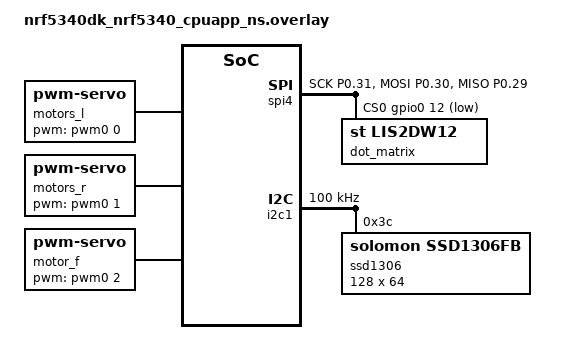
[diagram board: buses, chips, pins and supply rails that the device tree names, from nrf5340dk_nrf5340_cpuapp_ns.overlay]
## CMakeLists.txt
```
# SPDX-License-Identifier: Apache-2.0

cmake_minimum_required(VERSION 3.20.0)
set(SHIELD ssd1306_128x32)

find_package(Zephyr REQUIRED HINTS $ENV{ZEPHYR_BASE})
project(benjamin-robot)

target_sources(app PRIVATE src/main.c)

# Custom files and folders
target_sources(app PRIVATE
    src/remote_service/remote.c
    src/libs/ultrasonic_hc-sr04.c
    src/helpers.c
    src/radar_bx.c
)

zephyr_library_include_directories(src/remote_service)
```

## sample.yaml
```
sample:
  description: Hello World sample, the simplest Zephyr
    application
  name: hello world
common:
    tags: introduction
    integration_platforms:
      - native_posix
    harness: console
    harness_config:
      type: one_line
      regex:
        - "Hello World! (.*)"
tests:
  sample.basic.helloworld:
    tags: introduction
sample:
  name: Servo Motor using PWM
tests:
  sample.basic.servo_motor:
    tags: drivers pwm
    depends_on: pwm
    harness: motor
    filter: dt_compat_enabled("pwm-servo")
```

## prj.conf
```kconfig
# Configure logger
CONFIG_LOG=y
CONFIG_LOG_DEFAULT_LEVEL=3

# Configure some other BS that probably isn't needed 
CONFIG_STDOUT_CONSOLE=y
CONFIG_PRINTK=y

# Configure buttons and LEDs.
CONFIG_GPIO=y
CONFIG_DK_LIBRARY=y

# Configure PWM
CONFIG_PWM=y

# Configure SPI
CONFIG_SPI=y
CONFIG_SPI_ASYNC=y

# Configure Bluetooth
CONFIG_BT=y
CONFIG_BT_PERIPHERAL=y
CONFIG_BT_DEVICE_NAME="Benjamin the Robot"
CONFIG_BT_DEVICE_APPEARANCE=0
CONFIG_BT_MAX_CONN=1
CONFIG_ASSERT=y
CONFIG_BT_NUS=y

# Display
CONFIG_LV_Z_MEM_POOL_NUMBER_BLOCKS=8
CONFIG_MAIN_STACK_SIZE=2048
CONFIG_DISPLAY=y
CONFIG_DISPLAY_LOG_LEVEL_ERR=y
CONFIG_LVGL=y
CONFIG_LV_MEM_CUSTOM=y
CONFIG_LV_USE_LOG=y
CONFIG_LV_USE_LABEL=y
CONFIG_LV_USE_BTN=y
CONFIG_LV_USE_IMG=y
CONFIG_LV_FONT_MONTSERRAT_10=y
CONFIG_I2C=y
CONFIG_SSD1306_REVERSE_MODE=y
```

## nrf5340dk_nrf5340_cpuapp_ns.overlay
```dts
// To get started, press Ctrl+Space to bring up the completion menu and view the available nodes.

// You can also use the buttons in the sidebar to perform actions on nodes.
// Actions currently available include:

// * Enabling / disabling the node
// * Adding the bus to a bus
// * Removing the node
// * Connecting ADC channels

// For more help, browse the DeviceTree documentation at https://docs.zephyrproject.org/latest/guides/dts/index.html
// You can also visit the nRF DeviceTree extension documentation at https://nrfconnect.github.io/vscode-nrf-connect/devicetree/nrfdevicetree.html

/ {
    motors_l: motors_left {
        compatible = "pwm-servo";
        pwms = <&pwm0 0 PWM_MSEC(20) PWM_POLARITY_NORMAL>;
        min-pulse = <PWM_USEC(1000)>;
        max-pulse = <PWM_USEC(2000)>;
    };
    motors_r: motors_right {
        compatible = "pwm-servo";
        pwms = <&pwm0 1 PWM_MSEC(20) PWM_POLARITY_NORMAL>;
        min-pulse = <PWM_USEC(1000)>;
        max-pulse = <PWM_USEC(2000)>;
    };
    motor_f: motor_front {
        compatible = "pwm-servo";
        pwms = <&pwm0 2 PWM_MSEC(20) PWM_POLARITY_NORMAL>;
        min-pulse = <PWM_USEC(1000)>;
        max-pulse = <PWM_USEC(2000)>;
    } ;
};

my_spi_master: &spi4 {
    compatible = "nordic,nrf-spim";
    status = "okay";
    pinctrl-0 = <&spi4_default>;
    pinctrl-1 = <&spi4_sleep>;
    cs-gpios = <&gpio0 12 GPIO_ACTIVE_LOW>;         // Dot matrix
    dot_matrix: dot_matrix@0 {
        compatible = "st,lis2dw12";
        reg = <0>;
        spi-max-frequency = < 0x80000000UL >;
    };
    
};

arduino_i2c: &i2c1 {
	compatible = "nordic,nrf-twim";
	status = "okay";
	clock-frequency = <I2C_BITRATE_STANDARD>;   // default = I2C_BITRATE_FAST
    zephyr,concat-buf-size = <4096>;            // default = 4096
  
    ssd1306: ssd1306@3c {
        compatible = "solomon,ssd1306fb";
        reg = <0x3c>;   // I2C address 0x3c for SSD1306.
        width = <128>;
        height = <64>;
        segment-offset = <0>;   // default = 0
        page-offset = <0>;      // default = 0
        display-offset = <16>;  // default = 0. correct = 16
        multiplex-ratio = <63>; //change to 63 when using the 128x64 pixel version (default = 31)
        segment-remap;
        com-invdir;
        com-sequential;
        prechargep = <0x22>;    // default = 0x22
    };
};

&pinctrl {
    pwm0_default: pwm0_default {
        group1 {
            psels = <NRF_PSEL(PWM_OUT0, 0, 4)>;   
        };
        group2 {
            psels = <NRF_PSEL(PWM_OUT1, 0, 5)>;
        };
        group3 {
            psels = <NRF_PSEL(PWM_OUT2, 0, 6)>;
        };
    };
    pwm0_sleep: pwm0_sleep {
        group1 {
            psels = <NRF_PSEL(PWM_OUT0, 0, 4)>;
        };
        group2 {
            psels = <NRF_PSEL(PWM_OUT1, 0, 5)>;
        };
        group3 {
            psels = <NRF_PSEL(PWM_OUT2, 0, 6)>;

        };
    };
    i2c1_default: i2c1_default {
        group1 {
            psels = <NRF_PSEL(TWIM_SDA, 1, 2)>,
                    <NRF_PSEL(TWIM_SCL, 1, 3)>;
        };
    };
        
    i2c1_sleep: i2c1_sleep {
        group1 {
            psels = <NRF_PSEL(TWIM_SDA, 1, 2)>,
                    <NRF_PSEL(TWIM_SCL, 1, 3)>;
                    low-power-enable;
            };
    };
    spi4_default: spi4_default {
        group1 {
            psels = <NRF_PSEL(SPIM_SCK, 0, 31)>,
                    <NRF_PSEL(SPIM_MOSI, 0, 30)>,
                    <NRF_PSEL(SPIM_MISO, 0, 29)>;
        };
    };
    spi4_sleep: spi4_sleep {
        group1 {
            psels = <NRF_PSEL(SPIM_SCK, 0, 31)>,
                    <NRF_PSEL(SPIM_MOSI, 0, 30)>,
                    <NRF_PSEL(SPIM_MISO, 0, 29)>;
            low-power-enable;
        };
    };

};
```

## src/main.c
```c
/**
 * @file main.c
 * @brief Benjamin The Robot
 */

#include <zephyr/kernel.h>
#include <zephyr/logging/log.h>
#include <dk_buttons_and_leds.h>
#include <zephyr/device.h>
#include <zephyr/drivers/pwm.h>
#include <zephyr/drivers/display.h>
#include <bluetooth/services/nus.h>
#include <lvgl.h>
#include "remote_service/remote.h"
#include "libs/ultrasonic_hc-sr04.h"
#include "helpers.h"

// Logging
#define LOG_MODULE_NAME Benjamin_main
LOG_MODULE_REGISTER(LOG_MODULE_NAME);

// GPIO
#define RUN_STATUS_LED DK_LED1
#define CONN_STATUS_LED DK_LED2
#define RUN_LED_BLINK_INTERVAL 1000

// Pin definitions
#define ULTRASONIC_TRIG_PIN 25
#define ULTRASONIC_ECHO_PIN 26

// OLED Display
#define MY_DISP_HOR_RES 128
#define MY_DISP_VER_RES 64

// Motors
#define MOTOR_TIMEOUT_MS 120

// Function prototypes
static struct bt_conn *current_conn;
static void on_connected(struct bt_conn *conn, uint8_t error);
static void on_disconnected(struct bt_conn *conn, uint8_t reason);
static void on_data_received(struct bt_conn *conn, const uint8_t *const data, uint16_t len);
static void update_motors(uint8_t dir_ascii);
static void reset_motors(struct k_timer *timer);
static void config_dk_leds(void);
static void i2c_init(void);
static void oled_init(void);

// Timers
K_TIMER_DEFINE(motor_timeout, reset_motors, NULL);  

// Initialise devices
static const struct device *gpio_dev = DEVICE_DT_GET(DT_NODELABEL(gpio0));
static const struct pwm_dt_spec motors_l = PWM_DT_SPEC_GET(DT_NODELABEL(motors_l));
static const struct pwm_dt_spec motors_r = PWM_DT_SPEC_GET(DT_NODELABEL(motors_r));
static const struct pwm_dt_spec motor_f = PWM_DT_SPEC_GET(DT_NODELABEL(motor_f));
static const uint32_t MIN_PULSE_F = DT_PROP(DT_NODELABEL(motor_f), min_pulse);
static const uint32_t MAX_PULSE_F = DT_PROP(DT_NODELABEL(motor_f), max_pulse);
static const struct device *oled_dev;

// Variable declarations
typedef enum
{
    NONE_E = 0,
    NORTH_E = 1,
    NORTHEAST_E = 2,
    EAST_E = 3,
    SOUTHEAST_E = 4,
    SOUTH_E = 5,
    SOUTHWEST_E = 6,
    WEST_E = 7,
    NORTHWEST_E = 8
} robot_dir_t;

struct bt_conn_cb bluetooth_callbacks = {
	.connected 		= on_connected,
	.disconnected 	= on_disconnected,
};

struct bt_remote_service_cb remote_callbacks = {
    .data_received = on_data_received,
}; 

/* Callbacks */
static void on_connected(struct bt_conn *conn, uint8_t error)
{
	if(error) {
		LOG_ERR("connection err: %d", error);
		return;
	}
	LOG_INF("Connected.");
	current_conn = bt_conn_ref(conn);
	dk_set_led_on(CONN_STATUS_LED);
} /* on_connected */

static void on_disconnected(struct bt_conn *conn, uint8_t reason)
{
	LOG_INF("Disconnected (reason: %d)", reason);
	dk_set_led_off(CONN_STATUS_LED);
	if(current_conn) {
		bt_conn_unref(current_conn);
		current_conn = NULL;
	}
} /* on_disconnected */

static void on_data_received(struct bt_conn *conn, const uint8_t *const data, uint16_t len)
{
    uint8_t temp_str[len+1];
    memcpy(temp_str, data, len);
    temp_str[len] = 0x00;

    LOG_DBG("Received data on conn %p. Len: %d", (void *)conn, len);;
    LOG_DBG("Data: %s", temp_str);

    update_motors(temp_str[0]); 

    // Start/reset timer. Call reset_motors if time elapses.
    k_timer_start(&motor_timeout, K_MSEC(MOTOR_TIMEOUT_MS), K_NO_WAIT);
    
} /* on_data_received */

static void update_motors(uint8_t dir_ascii)
{
    uint16_t error;
    robot_dir_t dir;
    uint32_t motors_l_pwm_ns = 1500;
    uint32_t motors_r_pwm_ns = 1500;
    const uint32_t ROBOT_SPEED = 350;       // Max 500
    
    dir = (uint8_t)(dir_ascii - '0');       // Black magic convert to numeric
    LOG_DBG("ASCII: %u", dir_ascii);
    LOG_DBG("Int: %u", dir);

    /* Motor PWM->Speed Reference:
        Max foward = 2000 us
        Max reverse = 1000 us
        Stop = 1500 us. Dead band [1480-1520] us 
    */
    switch(dir)
    {
        case NONE_E:
            motors_l_pwm_ns = PWM_USEC(1500);
            motors_r_pwm_ns = PWM_USEC(1500);
            break;
        case NORTH_E: 
            motors_l_pwm_ns = PWM_USEC(1500 + ROBOT_SPEED);
            motors_r_pwm_ns = PWM_USEC(1500 + ROBOT_SPEED);
            break;
        case NORTHEAST_E:
            motors_l_pwm_ns = PWM_USEC(1500 + ROBOT_SPEED);
            motors_r_pwm_ns = PWM_USEC(1500 + ROBOT_SPEED/2);
            break;
        case EAST_E:
            motors_l_pwm_ns = PWM_USEC(1500 + ROBOT_SPEED);
            motors_r_pwm_ns = PWM_USEC(1500 - ROBOT_SPEED);
            break;
        case SOUTHEAST_E:
            motors_l_pwm_ns = PWM_USEC(1500 - ROBOT_SPEED);
            motors_r_pwm_ns = PWM_USEC(1500 - ROBOT_SPEED/2);
            break;
        case SOUTH_E:
            motors_l_pwm_ns = PWM_USEC(1500 - ROBOT_SPEED);
            motors_r_pwm_ns = PWM_USEC(1500 - ROBOT_SPEED);
            break;
        case SOUTHWEST_E:
            motors_l_pwm_ns = PWM_USEC(1500 - ROBOT_SPEED/2);
            motors_r_pwm_ns = PWM_USEC(1500 - ROBOT_SPEED);
            break;
        case WEST_E:
            motors_l_pwm_ns = PWM_USEC(1500 - ROBOT_SPEED);
            motors_r_pwm_ns = PWM_USEC(1500 + ROBOT_SPEED);
            break;
        case NORTHWEST_E:
            motors_l_pwm_ns = PWM_USEC(1500 + ROBOT_SPEED/2);
            motors_r_pwm_ns = PWM_USEC(1500 + ROBOT_SPEED);
            break;
        default:
            LOG_INF("Controller incorrectly configured. See robot_dir_t enum definition.");
            break;    
    }   

    // Set motor speeds
    error = pwm_set_pulse_dt(&motors_l, motors_l_pwm_ns);
    if (error < 0)
    {
        LOG_ERR("Error %d: failed to set pulse width of left motors", error);
        return;
    }
    error = pwm_set_pulse_dt(&motors_r, motors_r_pwm_ns);
    if (error < 0)
    {
        LOG_ERR("Error %d: failed to set pulse width of right motors", error);
        return;
	}
    LOG_DBG("Left motor set to %u us", motors_l_pwm_ns/1000);
    LOG_DBG("Right motor set to %u us", motors_r_pwm_ns/1000);
    
} /* update_motors */

static void reset_motors(struct k_timer *timer)
{
    ARG_UNUSED(timer);
    uint16_t error;
    error = pwm_set_pulse_dt(&motors_l, PWM_USEC(1500));
     if (error < 0) {
			LOG_ERR("Error %d: failed to reset left motors", error);
			return;
		}
    error = pwm_set_pulse_dt(&motors_r, PWM_USEC(1500));
    if (error < 0) {
			LOG_ERR("Error %d: failed to reset right motors", error);
			return;
		}
    LOG_INF("Motors turned off (1500 us)");

} /* reset_motors */

static void config_dk_leds(void)
{
    int16_t error;
    error = dk_leds_init();
    if (error) {
        LOG_ERR("Couldn't init LEDS (error %d)", error);
    }

} /* config_dk_leds */

static void i2c_init(void)
{
    oled_dev = DEVICE_DT_GET(DT_NODELABEL(ssd1306));
    if(!device_is_ready(oled_dev)) 
    {
		LOG_ERR("SSD1306 display device not ready!\n");
	}
} /* i2c_init */

static void oled_init(void)
{
    // Create draw buffer
	static lv_disp_draw_buf_t draw_buf;
	static lv_color_t buf1[MY_DISP_HOR_RES * MY_DISP_VER_RES];
	lv_disp_draw_buf_init(&draw_buf, buf1, NULL, MY_DISP_VER_RES * MY_DISP_VER_RES);

    // Create text label
    lv_obj_t *hello_label;
    hello_label = lv_label_create(lv_scr_act());
	lv_label_set_text(hello_label, "Battery Voltage:");
	lv_obj_align(hello_label, LV_ALIGN_CENTER, 0, 24);

    // Create voltage label
    lv_obj_t *voltage_label;
    voltage_label = lv_label_create(lv_scr_act());
    char fake_voltage_status[] = "4148 mV";
    lv_label_set_text(voltage_label, fake_voltage_status);
    lv_obj_align(voltage_label, "LV_ALIGN_BOTTOM_MID", 32, 0);

    display_blanking_off(oled_dev);
    lv_task_handler();

} /* oled_init */

void ultrasonic_thread(void)
{
    uint32_t dist_mm; 
    int16_t motor_err;
    int radar_err;
    uint32_t motor_f_pwm_ns = PWM_USEC(1500);
    bool b_dir = 0;
    uint32_t scan_position = 0;
    uint32_t prev_scan_position = 0;
    uint8_t dist_display= 0;
    uint8_t dist_mm_str[8 + 1] = {'&'};  // 8 digits for distance plus null char
    
    for (;;)
    {
        if (NULL != current_conn)
        {               
            // Move proximity sensor to next position
            motor_err = pwm_set_pulse_dt(&motor_f, motor_f_pwm_ns);
            if (motor_err < 0) 
            {
                LOG_ERR("Error %d: failed to set pulse width of front motor", motor_err);
                return;
            }
            LOG_DBG("Front motor set to %u us", motor_f_pwm_ns/1000);

            // Take sensor reading
            dist_mm = sense_distance();
		    
            // Map servo position to 1-8 value, invert so scan_position [0] is left, [19] is right
            scan_position = 19 - map(motor_f_pwm_ns, MIN_PULSE_F, MAX_PULSE_F, 0, 19);
            LOG_DBG("PWM: %u   Scan: %u", motor_f_pwm_ns/1000, scan_position);              // Motor PWM (1,000,000 to 2,000,000)
            
            if (scan_position != prev_scan_position)
            {
                // Process and transmit to NUS
                LOG_INF("Distance: %u mm, Position: %u", dist_mm, scan_position);
                LOG_DBG("PWM: %u   Scan: %u", motor_f_pwm_ns/1000, scan_position);
                snprintf(dist_mm_str, sizeof(dist_mm_str), "%u&%d&&&&&&", scan_position, dist_mm);
                radar_err = bt_nus_send(NULL, dist_mm_str, sizeof(dist_mm_str));
                if(0 != radar_err)
			    {
                    LOG_ERR("Error %d: NUS failed to send data. Check that notfications are enabled.", radar_err);
		        }
                else
                {
                    LOG_DBG("Transmitted string: %s", dist_mm_str);
                }
            }
            prev_scan_position = scan_position;
   
            // Update servo position values        // TODO: Tidy this up
            if (b_dir == 0)
            {
                if (motor_f_pwm_ns <= MIN_PULSE_F) 
                {
            		motor_f_pwm_ns = MIN_PULSE_F;
                    b_dir = 1;
            	} 
                else
                {
				    motor_f_pwm_ns -= PWM_USEC(10);                 // 30 is a nice speed
		 	    }
            } 
            else
            {
            	motor_f_pwm_ns = motor_f_pwm_ns + PWM_USEC(10);     // 30 is a nice speed
            	if (motor_f_pwm_ns >= MAX_PULSE_F) 
                {
            		motor_f_pwm_ns = MAX_PULSE_F;
                    b_dir = 0;
            	}
            }

        }
        k_sleep(K_MSEC(20));    // 40 ms is a proven value
    }
}

void main(void)
{
    int16_t error;
    int16_t blink_status = 0;
	LOG_INF("Hello World! %s\n", CONFIG_BOARD);

    config_dk_leds();
    error = ultrasonic_init(gpio_dev, ULTRASONIC_TRIG_PIN, ULTRASONIC_ECHO_PIN);
	if (!error)
	{
		LOG_DBG("Ultrasonic sensor initialisation failed");
	}

    i2c_init();
    oled_init();

    error = bluetooth_init(&bluetooth_callbacks, &remote_callbacks);
    if (error) 
    {
        LOG_INF("Couldn't initialize Bluetooth. error %d", error);
    }

    if (!device_is_ready(motors_l.dev))
    {
		LOG_ERR("Error: PWM device %s is not ready\n", motors_l.dev->name);
		return;
	}
	if (!device_is_ready(motors_r.dev))
    {
		LOG_ERR("Error: PWM device %s is not ready\n", motors_r.dev->name);
		return;
	}

    LOG_INF("Running...");
    for (;;) {
        dk_set_led(RUN_STATUS_LED, (blink_status++)%2);
        k_sleep(K_MSEC(RUN_LED_BLINK_INTERVAL));
    }

} /* main */

// Threads
K_THREAD_DEFINE(ultrasonic_thread_id, 1024, ultrasonic_thread, NULL, NULL, NULL, 4, 0, 0);
```

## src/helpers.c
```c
/**
 * @file helpers.c
 * @brief Useful functions and macros library
 */

#include "helpers.h"

uint32_t map(uint32_t x, uint32_t in_min, uint32_t in_max, uint32_t out_min, uint32_t out_max)
{
  if (x < in_min)
  {
    x = in_min;
  }
  if (x > in_max)
  {
    x = in_max;
  }
  return (x - in_min) * (out_max - out_min) / (in_max - in_min) + out_min;
} /* map */
```

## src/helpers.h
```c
/**
 * @file helpers.h
 * @brief Header file for helpers file
 */

#ifndef HELPERS_H
#define HELPERS_H

#include <zephyr/kernel.h>
#include <zephyr/device.h>

/* Display byte in binary. */
#define BYTE_TO_BINARY_PATTERN "%c%c%c%c%c%c%c%c"
#define BYTE_TO_BINARY(byte)  \
  (byte & 0x80 ? '1' : '0'), \
  (byte & 0x40 ? '1' : '0'), \
  (byte & 0x20 ? '1' : '0'), \
  (byte & 0x10 ? '1' : '0'), \
  (byte & 0x08 ? '1' : '0'), \
  (byte & 0x04 ? '1' : '0'), \
  (byte & 0x02 ? '1' : '0'), \
  (byte & 0x01 ? '1' : '0') 


/**
 * @brief Re-maps a number from one range to another.
 *
 * Constrains returned values within the specified range.
 *
 * @param x Input value.
 * @param in_min Lower bound of input value.
 * @param in_max Upper bound of the input value.
 * @param out_min Lower bound of the value's target range.
 * @param out_max Upper bound of the value's target range.
 * @returns The mapped value. Type uint32_t.
 */
uint32_t map(uint32_t x, uint32_t in_min, uint32_t in_max, uint32_t out_min, uint32_t out_max);

#endif /* HELPERS_H */
```

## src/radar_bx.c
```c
/**
 * @file radar_bx.c
 * @brief Radar behaviour
 */
#include "radar_bx.h"
#include <stdint.h>
#include <stdbool.h>

static bool radar_bx_init(void);
static void radar_process(void);

void radar_bx_start(void)
{
    bool success;
    success = radar_bx_init();

    for(;;)
    {
        radar_process();
    }
}

static bool radar_bx_init(void)
{
    return true;
}


static void radar_process(void)
{
    return;
}
```

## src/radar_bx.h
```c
/**
 * @file radar_bx.h
 * @brief Header for radar behaviour file
 */

#ifndef RADAR_BX_H
#define RADAR_BX_H

/**
 * @brief Start radar thread.
 *
 * Intialise radar behaviour and fall into infinite loop.
 */
void radar_bx_start(void);

#endif /* RADAR_BX_H */
```
